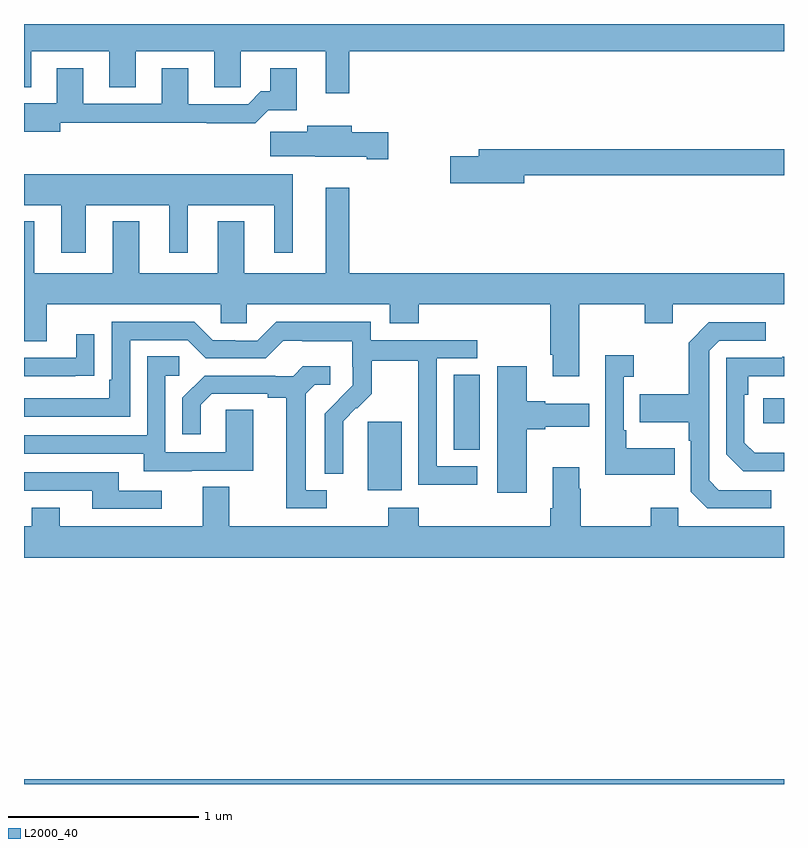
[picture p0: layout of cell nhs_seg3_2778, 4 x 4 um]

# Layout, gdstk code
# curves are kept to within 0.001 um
import gdstk
lib = gdstk.Library(unit=1e-6, precision=1e-09)
def R(c, l, rs):  # rectangles x0, y0, x1, y1
    for r in rs: c.add(gdstk.rectangle(r[:2], r[2:], *l))
def P(c, l, *ps):  # polygons
    for p in ps: c.add(gdstk.Polygon(p, *l))
L2000_40 = (2000, 40)

nhs_seg3_2778 = lib.new_cell('nhs_seg3_2778')
R(nhs_seg3_2778, L2000_40, [(255,690.4,259,690.424), (256.808,691.946,256.987,692.307), (257.261,692.158,257.398,692.555), (258.891,692.3,259,692.43)])
P(nhs_seg3_2778, L2000_40, [(259,694.4),(255,694.4),(255,694.067),(255.037,694.067),(255.037,694.256),(255.449,694.256),(255.449,694.066),(255.589,694.066),(255.589,694.256),(256.001,694.256),(256.001,694.066),(256.14,694.066),(256.14,694.256),(256.589,694.256),(256.589,694.035),(256.711,694.035),(256.711,694.256),(259,694.256)],
  [(255.19,693.88),(255.961,693.88),(255.961,693.878),(256.217,693.878),(256.286,693.947),(256.435,693.947),(256.435,694.168),(256.295,694.168),(256.295,694.045),(256.246,694.045),(256.179,693.978),(255.865,693.978),(255.865,694.168),(255.725,694.168),(255.725,693.981),(255.313,693.981),(255.313,694.168),(255.173,694.168),(255.173,693.982),(255,693.982),(255,693.833),(255.19,693.833)],
  [(256.918,693.831),(256.726,693.831),(256.726,693.865),(256.49,693.865),(256.49,693.833),(256.296,693.833),(256.296,693.704),(256.533,693.704),(256.533,693.701),(256.805,693.701),(256.805,693.689),(256.918,693.689)],
  [(257.632,693.604),(259,693.604),(259,693.74),(257.393,693.74),(257.393,693.704),(257.244,693.704),(257.244,693.562),(257.632,693.562)],
  [(255.325,693.446),(255.764,693.446),(255.764,693.195),(255.862,693.195),(255.862,693.446),(256.316,693.446),(256.316,693.195),(256.414,693.195),(256.414,693.61),(255,693.61),(255,693.446),(255.197,693.446),(255.197,693.195),(255.325,693.195)],
  [(257.923,692.924),(258.267,692.924),(258.267,692.825),(258.415,692.825),(258.415,692.924),(259,692.924),(259,693.088),(256.711,693.088),(256.711,693.538),(256.589,693.538),(256.589,693.088),(256.159,693.088),(256.159,693.361),(256.019,693.361),(256.019,693.088),(255.607,693.088),(255.607,693.361),(255.467,693.361),(255.467,693.088),(255.055,693.088),(255.055,693.361),(255,693.361),(255,692.73),(255.121,692.73),(255.121,692.924),(256.035,692.924),(256.035,692.826),(256.173,692.826),(256.173,692.924),(256.925,692.924),(256.925,692.825),(257.078,692.825),(257.078,692.924),(257.771,692.924),(257.771,692.659),(257.783,692.659),(257.783,692.547),(257.923,692.547)],
  [(257.386,692.073),(257.172,692.073),(257.172,692.64),(257.386,692.64),(257.386,692.736),(256.824,692.736),(256.824,692.833),(256.327,692.833),(256.227,692.733),(256.112,692.733),(256.112,692.736),(255.993,692.736),(255.897,692.832),(255.462,692.832),(255.462,692.527),(255.449,692.527),(255.449,692.43),(255,692.43),(255,692.334),(255.558,692.334),(255.558,692.736),(255.861,692.736),(255.957,692.64),(256.272,692.64),(256.365,692.733),(256.465,692.733),(256.465,692.729),(256.728,692.729),(256.728,692.595),(256.73,692.595),(256.73,692.498),(256.584,692.35),(256.584,692.032),(256.68,692.032),(256.679,692.309),(256.749,692.379),(256.752,692.376),(256.829,692.453),(256.829,692.628),(257.074,692.628),(257.074,692.404),(257.076,692.404),(257.076,691.975),(257.386,691.975)],
  [(258.934,691.947),(258.657,691.947),(258.606,691.998),(258.606,692.679),(258.66,692.733),(258.904,692.733),(258.904,692.829),(258.603,692.829),(258.498,692.723),(258.498,692.451),(258.241,692.451),(258.241,692.303),(258.498,692.303),(258.498,692.207),(258.51,692.207),(258.51,691.938),(258.597,691.851),(258.934,691.851)],
  [(255.269,692.548),(255.371,692.548),(255.371,692.767),(255.275,692.767),(255.275,692.643),(255,692.643),(255,692.547),(255.269,692.547)],
  [(258.425,692.167),(258.169,692.167),(258.169,692.263),(258.156,692.263),(258.156,692.543),(258.208,692.543),(258.208,692.656),(258.06,692.656),(258.06,692.027),(258.425,692.027)],
  [(255.883,692.049),(256.207,692.049),(256.207,692.369),(256.062,692.369),(256.062,692.145),(255.744,692.145),(255.744,692.55),(255.817,692.55),(255.817,692.651),(255.648,692.651),(255.648,692.235),(255,692.235),(255,692.139),(255.629,692.139),(255.629,692.045),(255.883,692.045)],
  [(259,692.143),(258.845,692.143),(258.792,692.196),(258.792,692.45),(258.812,692.45),(258.812,692.547),(259,692.547),(259,692.648),(258.991,692.648),(258.991,692.643),(258.696,692.643),(258.696,692.136),(258.786,692.046),(259,692.046)],
  [(256.594,691.947),(256.483,691.947),(256.483,692.455),(256.53,692.502),(256.612,692.502),(256.612,692.599),(256.468,692.599),(256.416,692.547),(256.322,692.547),(256.322,692.55),(255.95,692.55),(255.834,692.434),(255.834,692.241),(255.931,692.241),(255.931,692.397),(255.988,692.454),(256.283,692.454),(256.283,692.432),(256.379,692.432),(256.379,691.851),(256.594,691.851)],
  [(257.647,692.267),(257.743,692.267),(257.743,692.279),(257.974,692.279),(257.974,692.401),(257.743,692.401),(257.743,692.414),(257.647,692.414),(257.647,692.599),(257.492,692.599),(257.492,691.932),(257.647,691.932)],
  [(259,691.756),(258.444,691.756),(258.444,691.855),(258.298,691.855),(258.298,691.756),(257.931,691.756),(257.931,691.955),(257.923,691.955),(257.923,692.068),(257.783,692.068),(257.783,691.852),(257.771,691.852),(257.771,691.756),(257.078,691.756),(257.078,691.855),(256.918,691.855),(256.918,691.756),(256.081,691.756),(256.081,691.964),(255.941,691.964),(255.941,691.756),(255.187,691.756),(255.187,691.855),(255.04,691.855),(255.04,691.756),(255,691.756),(255,691.592),(259,691.592)],
  [(255.724,691.944),(255.499,691.944),(255.499,692.04),(255,692.04),(255,691.944),(255.359,691.944),(255.359,691.848),(255.724,691.848)])

lib.write_gds('nhs_seg3_2778.gds')
